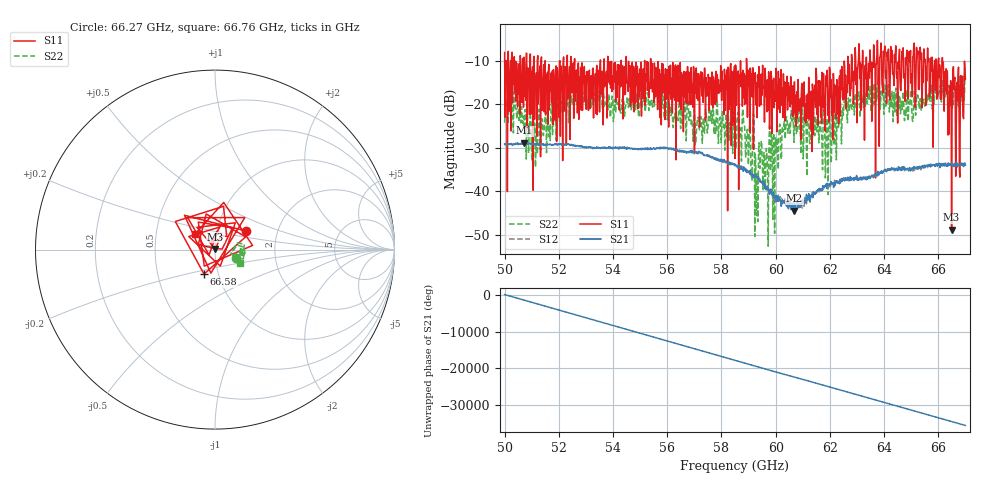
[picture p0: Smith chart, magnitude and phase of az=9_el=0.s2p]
!Created with skrf (http://scikit-rf.org).
# GHz S RI R 50.0
!freq ReS11 ImS11 ReS21 ImS21 ReS12 ImS12 ReS22 ImS22
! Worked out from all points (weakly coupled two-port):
!   1001 points, 50 GHz to 67 GHz, reference 50 ohm
!   highest |S21| = -28.84 dB at 50.73 GHz (marker M1); lowest = -44.4 dB at 60.69 GHz (marker M2)
!   lowest |S11| = -48.8 dB at 66.49 GHz (marker M3), VSWR 1.01, Z = 50.2 + j0.297 ohm
!   |S11| at or under -10 dB: 52.58 GHz to 53.53 GHz (949.2 MHz wide, 1.79 % of centre); 55.39 GHz to 58.92 GHz (3.533 GHz wide, 6.18 % of centre); 58.93 GHz to 62.66 GHz (3.735 GHz wide, 6.14 % of centre) (the widest 3 of 63)
!   |S22| runs from -52.6 to -13.4 dB; largest |S21 - S12| = 0.0024
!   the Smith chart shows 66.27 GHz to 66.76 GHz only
!   S11 on the Smith chart (normalised r, x): 66.27 GHz: 1.38, +0.30; 66.58 GHz: 0.85, -0.24; 66.76 GHz: 0.79, +0.14
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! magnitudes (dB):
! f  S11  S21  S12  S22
! 50 GHz  -8.1  -29.1  -29.2  -24.2
! 50.15 GHz  -21.7  -29.2  -29.1  -20.9
! 50.73 GHz  -10.4  -28.8  -29.0  -25.4
! 51.14 GHz  -14.0  -29.1  -29.2  -34.5
! 52.84 GHz  -11.9  -29.5  -29.7  -19.5
! 55.68 GHz  -13.2  -30.1  -30.0  -21.0
! 58.5 GHz  -32.4  -33.8  -33.8  -23.5
! 59.11 GHz  -13.0  -36.3  -35.9  -35.3
! 59.32 GHz  -23.1  -36.7  -36.9  -35.9
! 59.45 GHz  -20.1  -37.8  -37.7  -29.9
! 59.66 GHz  -15.3  -39.7  -39.0  -30.2
! 60.69 GHz  -14.8  -44.4  -41.7  -23.2
! 61.34 GHz  -30.8  -41.2  -41.0  -26.5
! 62 GHz  -12.1  -38.7  -38.4  -23.8
! 62.55 GHz  -11.3  -37.6  -37.3  -18.7
! 64.18 GHz  -11.9  -35.1  -35.4  -17.5
! 66.27 GHz  -13.9  -34.0  -33.5  -18.1
! 66.44 GHz  -20.3  -33.7  -33.8  -16.2
! 66.49 GHz  -48.8  -33.5  -33.9  -15.4
! 66.58 GHz  -16.5  -34.3  -34.2  -15.6
! 66.76 GHz  -17.0  -33.9  -33.7  -15.9
! 67 GHz  -14.2  -34.0  -33.9  -14.2
